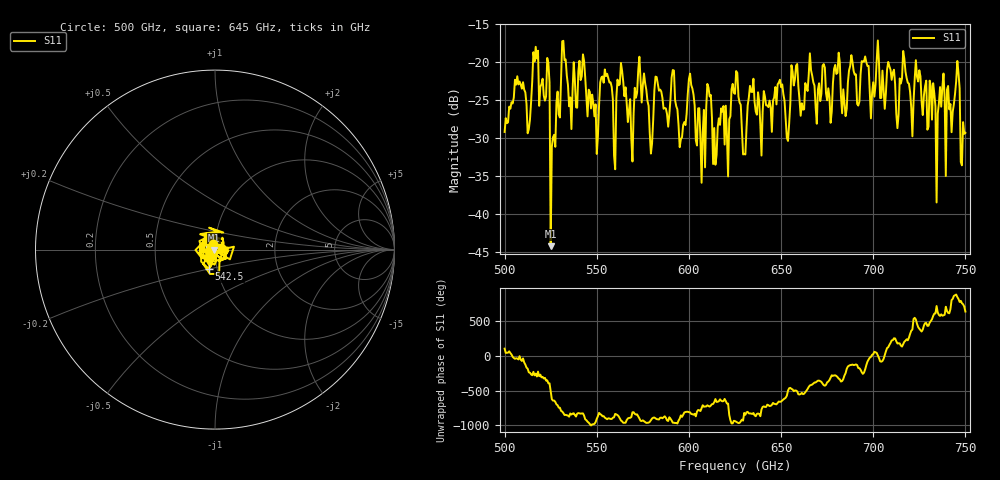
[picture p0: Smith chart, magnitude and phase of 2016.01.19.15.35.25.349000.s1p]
!Created with skrf (http://scikit-rf.org).
# GHz S RI R 50.0
!freq ReS11 ImS11
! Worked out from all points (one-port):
!   401 points, 500 GHz to 750 GHz, reference 50 ohm
!   lowest |S11| = -44.3 dB at 525 GHz (marker M1), VSWR 1.01, Z = 49.5 - j0.272 ohm
!   |S11| at or under -10 dB: start of sweep to end of sweep
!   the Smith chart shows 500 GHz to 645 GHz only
!   S11 on the Smith chart (normalised r, x): 500 GHz: 0.98, +0.07; 542.5 GHz: 0.91, -0.20; 645 GHz: 1.07, +0.02
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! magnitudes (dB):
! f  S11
! 500 GHz  -29.2
! 506.9 GHz  -21.8
! 513.1 GHz  -28.9
! 516.9 GHz  -18.0
! 525 GHz  -44.3
! 531.2 GHz  -17.2
! 542.5 GHz  -19.0
! 550 GHz  -32.1
! 562.5 GHz  -22.9
! 568.1 GHz  -24.9
! 573.8 GHz  -22.2
! 579.4 GHz  -32.1
! 582.5 GHz  -22.0
! 593.8 GHz  -26.2
! 601.2 GHz  -23.0
! 607.5 GHz  -29.3
! 610.6 GHz  -23.3
! 614.4 GHz  -33.5
! 625 GHz  -24.2
! 630 GHz  -32.1
! 633.8 GHz  -23.9
! 645 GHz  -29.2
! 656.2 GHz  -21.3
! 687.5 GHz  -20.5
! 718.8 GHz  -22.7
! 734.4 GHz  -38.5
! 745.6 GHz  -19.8
! 750 GHz  -29.3
